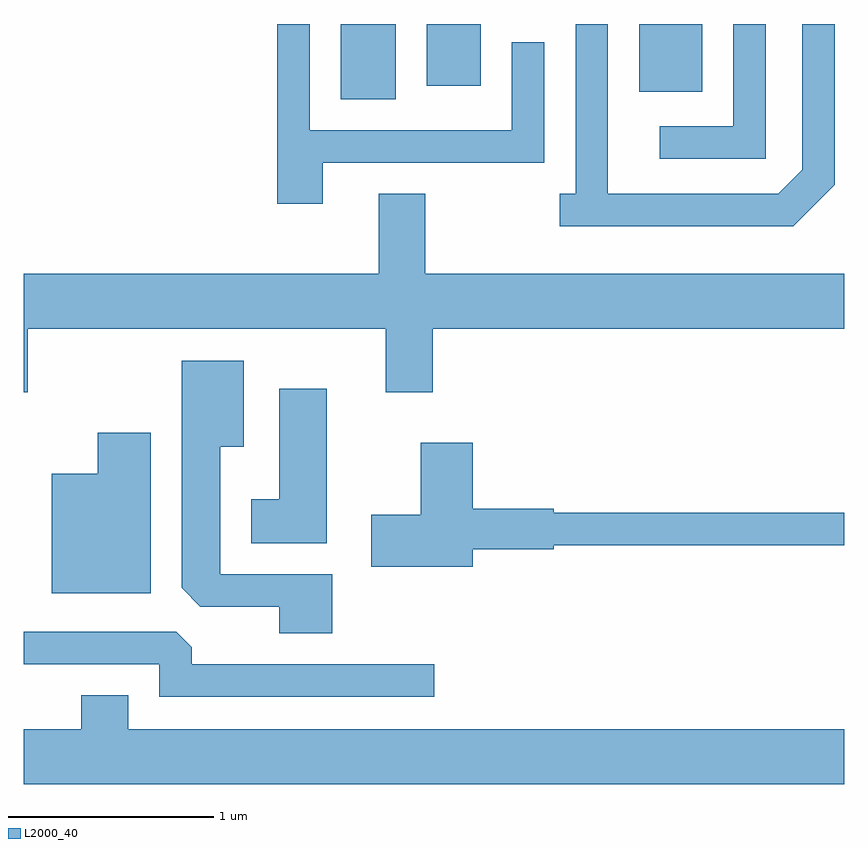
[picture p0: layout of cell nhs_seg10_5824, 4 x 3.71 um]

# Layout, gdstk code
import gdstk
lib = gdstk.Library(unit=1e-6, precision=1e-09)
def R(c, l, rs):  # rectangles x0, y0, x1, y1
    for r in rs: c.add(gdstk.rectangle(r[:2], r[2:], *l))
def P(c, l, *ps):  # polygons
    for p in ps: c.add(gdstk.Polygon(p, *l))
L2000_40 = (2000, 40)

nhs_seg10_5824 = lib.new_cell('nhs_seg10_5824')
R(nhs_seg10_5824, L2000_40, [(359.156,2106.156,359.424,2106.522), (360.611,2106.191,360.919,2106.522), (359.576,2106.221,359.839,2106.522)])
P(nhs_seg10_5824, L2000_40, [(361.564,2105.739),(361.564,2106.522),(361.406,2106.522),(361.406,2105.812),(361.289,2105.694),(360.459,2105.694),(360.459,2106.522),(360.301,2106.522),(360.301,2105.694),(360.223,2105.694),(360.223,2105.536),(361.362,2105.536)],
  [(359.069,2105.846),(360.149,2105.846),(360.149,2106.433),(359.991,2106.433),(359.991,2106.004),(359.004,2106.004),(359.004,2106.522),(358.846,2106.522),(358.846,2105.646),(359.069,2105.646)],
  [(361.229,2106.522),(361.071,2106.522),(361.071,2106.024),(360.713,2106.024),(360.713,2105.866),(361.229,2105.866)],
  [(357.629,2105.036),(359.376,2105.036),(359.376,2104.726),(359.604,2104.726),(359.604,2105.036),(361.611,2105.036),(361.611,2105.304),(359.569,2105.304),(359.569,2105.694),(359.341,2105.694),(359.341,2105.304),(357.611,2105.304),(357.611,2104.726),(357.629,2104.726)],
  [(359.114,2103.839),(358.569,2103.839),(358.569,2104.461),(358.684,2104.461),(358.684,2104.879),(358.381,2104.879),(358.381,2103.772),(358.472,2103.681),(358.856,2103.681),(358.856,2103.551),(359.114,2103.551)],
  [(359.089,2104.744),(358.856,2104.744),(358.856,2104.204),(358.721,2104.204),(358.721,2103.991),(359.089,2103.991)],
  [(358.229,2104.529),(357.971,2104.529),(357.971,2104.329),(357.746,2104.329),(357.746,2103.746),(358.229,2103.746)],
  [(359.799,2103.961),(360.194,2103.961),(360.194,2103.981),(361.611,2103.981),(361.611,2104.139),(360.194,2104.139),(360.194,2104.159),(359.799,2104.159),(359.799,2104.479),(359.546,2104.479),(359.546,2104.129),(359.306,2104.129),(359.306,2103.876),(359.799,2103.876)],
  [(359.613,2103.399),(358.429,2103.399),(358.429,2103.484),(358.354,2103.559),(357.611,2103.559),(357.611,2103.401),(358.271,2103.401),(358.271,2103.241),(359.613,2103.241)],
  [(361.611,2103.084),(358.119,2103.084),(358.119,2103.249),(357.891,2103.249),(357.891,2103.084),(357.611,2103.084),(357.611,2102.816),(361.611,2102.816)])

lib.write_gds('nhs_seg10_5824.gds')
